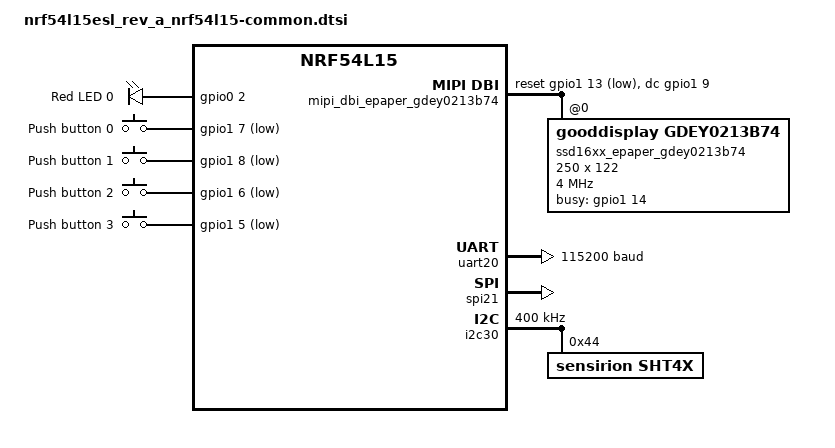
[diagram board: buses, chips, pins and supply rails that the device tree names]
/*
 * Copyright (c) 2024 Nordic Semiconductor ASA
 *
 * SPDX-License-Identifier: Apache-2.0
 */

#include "nrf54l15esl_rev_a_nrf54l15-pinctrl.dtsi"

/ {
	chosen {
		zephyr,display = &ssd16xx_epaper_gdey0213b74;
	};

	leds {
		compatible = "gpio-leds";
		led0: led_0 {
			gpios = <&gpio0 2 GPIO_ACTIVE_HIGH>;
			label = "Red LED 0";
		};
	};

	buttons: buttons {
		compatible = "gpio-keys";
		button0: button_0 {
			gpios = <&gpio1 7 (GPIO_PULL_UP | GPIO_ACTIVE_LOW)>;
			label = "Push button 0";
			zephyr,code = <INPUT_KEY_0>;
		};
		button1: button_1 {
			gpios = <&gpio1 8 (GPIO_PULL_UP | GPIO_ACTIVE_LOW)>;
			label = "Push button 1";
			zephyr,code = <INPUT_KEY_1>;
		};
		button2: button_2 {
			gpios = <&gpio1 6 (GPIO_PULL_UP | GPIO_ACTIVE_LOW)>;
			label = "Push button 2";
			zephyr,code = <INPUT_KEY_2>;
		};
		button3: button_3 {
			gpios = <&gpio1 5 (GPIO_PULL_UP | GPIO_ACTIVE_LOW)>;
			label = "Push button 3";
			zephyr,code = <INPUT_KEY_3>;
		};
	};

	longpress: longpress {
		input = <&buttons>;
		compatible = "zephyr,input-longpress";
		input-codes = <INPUT_KEY_0>, <INPUT_KEY_1>, <INPUT_KEY_2>, <INPUT_KEY_3>;
		short-codes = <INPUT_KEY_A>, <INPUT_KEY_B>, <INPUT_KEY_C>, <INPUT_KEY_D>;
		long-codes = <INPUT_KEY_W>, <INPUT_KEY_X>, <INPUT_KEY_Y>, <INPUT_KEY_Z>;
		long-delay-ms = <1000>;
	};

	pointer {
		compatible = "zephyr,lvgl-button-input";
		input = <&buttons>;
		input-codes = <INPUT_KEY_A INPUT_KEY_B INPUT_KEY_C INPUT_KEY_D>;
		// Corresponds to button locations for bottom menu bar
		coordinates = <32 110>, <96 110>, <160 110>, <224 110>;
	};

	aliases {
		led0 = &led0;
		sw0 = &button0;
		sw1 = &button1;
		sw2 = &button2;
		sw3 = &button3;
		watchdog0 = &wdt31;
	};

	mipi_dbi_epaper_gdey0213b74 {
		compatible = "zephyr,mipi-dbi-spi";
		spi-dev = <&spi21>;
		dc-gpios = <&gpio1 9 GPIO_ACTIVE_HIGH>;
		reset-gpios = <&gpio1 13 GPIO_ACTIVE_LOW>;
		#address-cells = <1>;
		#size-cells = <0>;

		ssd16xx_epaper_gdey0213b74: ssd16xxfb@0 {
			compatible = "gooddisplay,gdey0213b74", "solomon,ssd1680";
			mipi-max-frequency = <4000000>;
			reg = <0>;
			width = <250>;
			height = <122>;
			busy-gpios = <&gpio1 14 GPIO_ACTIVE_HIGH>;

			//tssv = <0x80>;

			full {
				border-waveform = <0x05>;
			};

			partial {
				border-waveform = <0x3c>;
			};
		};
	};
};

&uart20 {
	status = "okay";
	current-speed = <115200>;
	pinctrl-0 = <&uart20_default>;
	pinctrl-1 = <&uart20_sleep>;
	pinctrl-names = "default", "sleep";
};

&spi21 {
	compatible = "nordic,nrf-spim";
	status = "okay";
	pinctrl-0 = <&spi21_default>;
	pinctrl-1 = <&spi21_sleep>;
	pinctrl-names = "default", "sleep";
	cs-gpios = <&gpio1 12 GPIO_ACTIVE_LOW>;
};

&i2c30 {
	compatible = "nordic,nrf-twim";
	status = "okay";
	pinctrl-0 = <&i2c30_default>;
	pinctrl-1 = <&i2c30_sleep>;
	pinctrl-names = "default", "sleep";
	clock-frequency = <I2C_BITRATE_FAST>;
	sht4x@44 {
		status = "okay";
		compatible = "sensirion,sht4x";
		reg = <0x44>;
		repeatability = <2>;
	};
};
